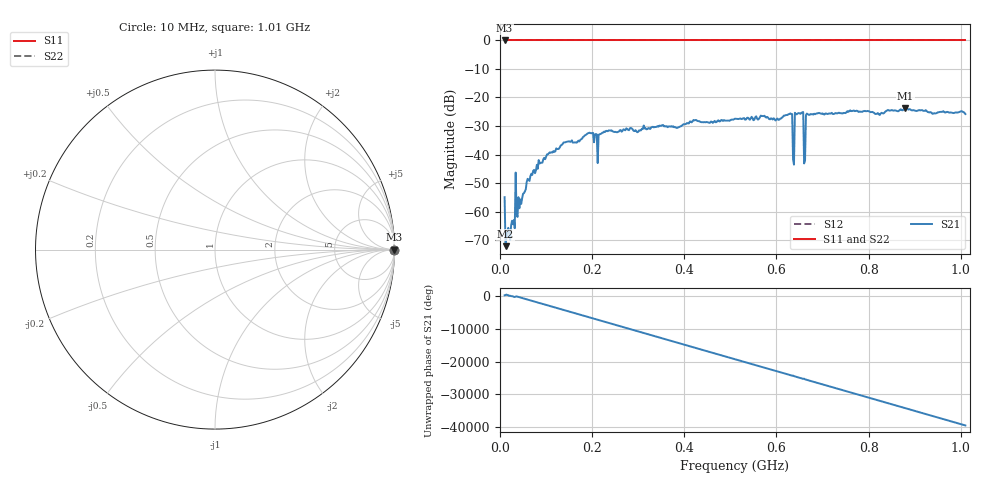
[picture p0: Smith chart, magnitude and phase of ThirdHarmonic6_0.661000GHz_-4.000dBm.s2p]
! 8/15/2025 9:57:35 PM
! C:\ANRITSUVNA\TEMP\TEMP.S2P
! CHANNEL.1
! TR.MEASUREMENT
! RAW.DATA
! RF.CORRECTION.OFF
! AVERAGING.OFF
! IF.BANDWIDTH: 5KHZ
! SWEEPTYPE:  FREQ.SWEEP(Linear)
! Reference Plane Port Info
! PORT:  PORT1  PORT2
! DISTANCE:  0  m  0  m
! TIME:  0  s  0  s
! PHASE.OFFSET:  0  deg.  0  deg.
! LOSS:  0  dB  0  dB
! REF.LOSS:  0  dB  0  dB
! REF.FREQ:  0  Hz  0  Hz
! Power Info
! POWER:  -20  dBm  -20  dBm
! EFF.POWER:  -20  dBm  -20  dBm
! SOURCE.ATTEN:  0  dB  0  dB
! TEST.ATTEN:  0  dB  0  dB
# GHZ S RI R 50.0
! FREQ.GHZ  S11RE  S11IM  S21RE  S21IM  S12RE  S12IM  S22RE  S22IM
!; PortSelection: Port_12
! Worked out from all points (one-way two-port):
!   501 points, 10 MHz to 1.01 GHz, reference 50 ohm
!   highest |S21| = -23.79 dB at 880 MHz (marker M1); lowest = -72.1 dB at 12 MHz (marker M2)
!   lowest |S11| = 0.0 dB at 10 MHz (marker M3)
!   |S11| at or under -10 dB: nowhere
!   |S22| runs from 0.0 to 0.0 dB; largest |S21 - S12| = 1.1
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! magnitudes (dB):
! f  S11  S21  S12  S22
! 10 MHz  0.0  -55.0  0.0  0.0
! 12 MHz  0.0  -72.1  0.0  0.0
! 18 MHz  0.0  -65.7  0.0  0.0
! 38 MHz  0.0  -61.9  0.0  0.0
! 40 MHz  0.0  -55.0  0.0  0.0
! 84 MHz  0.0  -41.9  0.0  0.0
! 140 MHz  0.0  -35.7  0.0  0.0
! 178 MHz  0.0  -34.5  0.0  0.0
! 344 MHz  0.0  -30.2  0.0  0.0
! 510 MHz  0.0  -27.4  0.0  0.0
! 630 MHz  0.0  -25.6  0.0  0.0
! 634 MHz  0.0  -25.9  0.0  0.0
! 640 MHz  0.0  -25.4  0.0  0.0
! 644 MHz  0.0  -25.9  0.0  0.0
! 654 MHz  0.0  -25.4  0.0  0.0
! 658 MHz  0.0  -25.1  0.0  0.0
! 664 MHz  0.0  -26.2  0.0  0.0
! 668 MHz  0.0  -25.9  0.0  0.0
! 678 MHz  0.0  -25.9  0.0  0.0
! 844 MHz  0.0  -24.6  0.0  0.0
! 880 MHz  0.0  -23.8  0.0  0.0
! 1.01 GHz  0.0  -25.8  0.0  0.0
